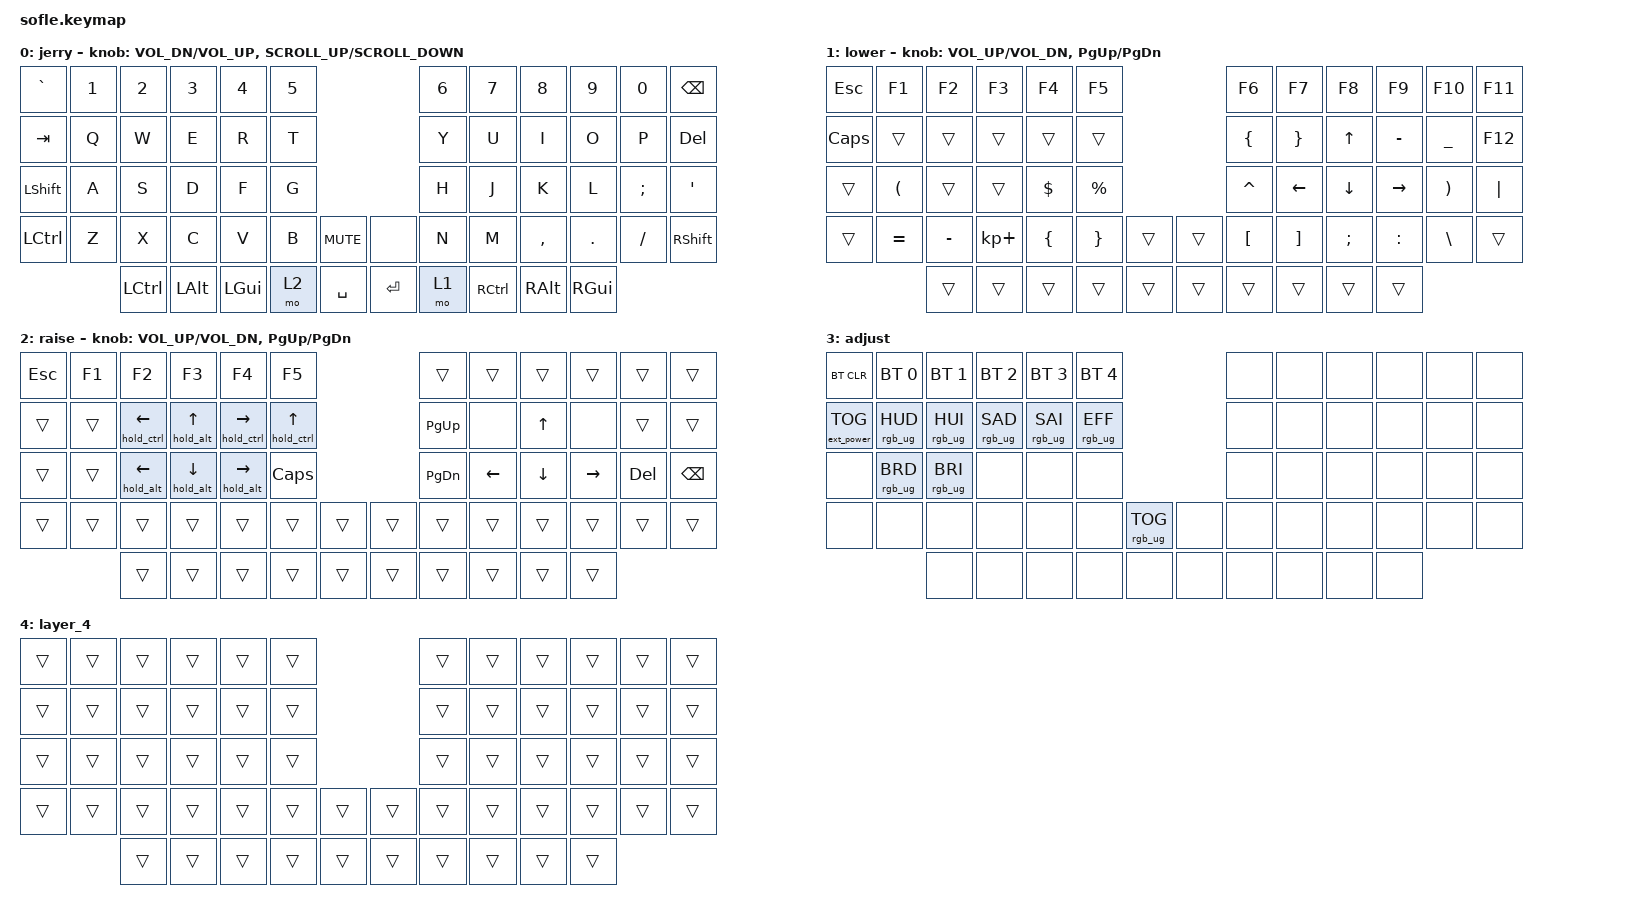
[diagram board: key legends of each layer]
/*
 * Copyright (c) 2020 The ZMK Contributors
 *
 * SPDX-License-Identifier: MIT
 */

#include <behaviors.dtsi>
#include <dt-bindings/zmk/bt.h>
#include <dt-bindings/zmk/ext_power.h>
#include <dt-bindings/zmk/keys.h>
#include <dt-bindings/zmk/rgb.h>

#define BASE 0
#define LOWER 1
#define RAISE 2
#define ADJUST 3

/ {
    // Activate ADJUST layer by pressing raise and lower

    conditional_layers {
        compatible = "zmk,conditional-layers";

        adjust_layer {
            if-layers = <LOWER RAISE>;
            then-layer = <ADJUST>;
        };
    };

    macros {
        hold_alt: alt_left {
            compatible = "zmk,behavior-macro-one-param";
            #binding-cells = <1>;
            bindings =
                <&macro_press>,
                <&kp LEFT_ALT>,
                <&macro_tap>,
                <&macro_param_1to1 &kp MACRO_PLACEHOLDER>,
                <&macro_release>,
                <&kp LEFT_ALT>;

            label = "ALT_LEFT";
        };

        hold_ctrl: hold_ctrl {
            compatible = "zmk,behavior-macro-one-param";
            #binding-cells = <1>;
            bindings =
                <&macro_press>,
                <&kp LEFT_CONTROL>,
                <&macro_tap>,
                <&macro_param_1to1 &kp MACRO_PLACEHOLDER>,
                <&macro_release>,
                <&kp LEFT_CONTROL>;

            label = "HOLD_CTRL";
        };

        hold_cmd: hold_cmd {
            compatible = "zmk,behavior-macro-one-param";
            #binding-cells = <1>;
            bindings =
                <&macro_press>,
                <&kp LEFT_GUI>,
                <&macro_tap>,
                <&macro_param_1to1 &kp MACRO_PLACEHOLDER>,
                <&macro_release>,
                <&kp LEFT_GUI>;

            label = "HOLD_CMD";
        };
    };

    keymap {
        compatible = "zmk,keymap";

        default_layer {
            label = "jerry";

            // ------------------------------------------------------------------------------------------------------------
            // |   `   |  1  |  2  |  3   |  4   |  5   |                   |  6   |  7    |  8    |  9   |   0   |       |
            // |  ESC  |  Q  |  W  |  E   |  R   |  T   |                   |  Y   |  U    |  I    |  O   |   P   | BKSPC |
            // |  TAB  |  A  |  S  |  D   |  F   |  G   |                   |  H   |  J    |  K    |  L   |   ;   |   '   |
            // | SHIFT |  Z  |  X  |  C   |  V   |  B   |  MUTE  |  |       |  N   |  M    |  ,    |  .   |   /   | SHIFT |
            //               | GUI | ALT  | CTRL | LOWER|  ENTER |  | SPACE | RAISE| CTRL  | ALT   | GUI  |

            bindings = <
&kp GRAVE         &kp N1  &kp N2            &kp N3    &kp N4    &kp N5                           &kp N6  &kp N7     &kp N8     &kp N9    &kp N0    &kp BACKSPACE
&kp TAB           &kp Q   &kp W             &kp E     &kp R     &kp T                            &kp Y   &kp U      &kp I      &kp O     &kp P     &kp DELETE
&kp LEFT_SHIFT    &kp A   &kp S             &kp D     &kp F     &kp G                            &kp H   &kp J      &kp K      &kp L     &kp SEMI  &kp SQT
&kp LEFT_CONTROL  &kp Z   &kp X             &kp C     &kp V     &kp B   &kp C_MUTE    &none      &kp N   &kp M      &kp COMMA  &kp DOT   &kp FSLH  &kp RSHFT
                          &kp LEFT_CONTROL  &kp LALT  &kp LGUI  &mo 2   &kp SPACE     &kp ENTER  &mo 1   &kp RCTRL  &kp RALT   &kp RGUI
            >;

            sensor-bindings =
                <&inc_dec_kp C_VOL_DN C_VOL_UP>,
                <&inc_dec_kp K_SCROLL_UP K_SCROLL_DOWN>;
        };

        lower_layer {
            label = "lower";

            // TODO: Some binds are waiting for shifted keycode support.
            // ------------------------------------------------------------------------------------------------------------
            // |       |  F1 |  F2 |  F3  |  F4  |  F5  |                   |  F6  |  F7   |  F8   |  F9  |  F10  |  F11  |
            // |   `   |  1  |  2  |  3   |  4   |  5   |                   |  6   |  7    |  8    |  9   |   0   |  F12  |
            // |       |  !  |  @  |  #   |  $   |  %   |                   |  ^   |  &    |  *    |  (   |   )   |   |   |
            // |       |  =  |  -  |  +   |  {   |  }   |        |  |       |  [   |  ]    |  ;    |  :   |   \   |       |
            //               |     |      |      |      |        |  |       |      |       |       |      |

            bindings = <
&kp ESC       &kp F1                &kp F2     &kp F3       &kp F4    &kp F5                       &kp F6          &kp F7           &kp F8          &kp F9           &kp F10         &kp F11
&kp CAPSLOCK  &trans                &trans     &trans       &trans    &trans                       &kp LEFT_BRACE  &kp RIGHT_BRACE  &kp UP_ARROW    &kp MINUS        &kp UNDERSCORE  &kp F12
&trans        &kp LEFT_PARENTHESIS  &trans     &trans       &kp DLLR  &kp PRCNT                    &kp CARET       &kp LEFT_ARROW   &kp DOWN_ARROW  &kp RIGHT_ARROW  &kp RPAR        &kp PIPE
&trans        &kp EQUAL             &kp MINUS  &kp KP_PLUS  &kp LBRC  &kp RBRC   &trans    &trans  &kp LBKT        &kp RBKT         &kp SEMI        &kp COLON        &kp BSLH        &trans
                                    &trans     &trans       &trans    &trans     &trans    &trans  &trans          &trans           &trans          &trans
            >;

            sensor-bindings = <&inc_dec_kp C_VOL_UP C_VOL_DN &inc_dec_kp PG_UP PG_DN>;
        };

        raise_layer {
            label = "raise";

            // ------------------------------------------------------------------------------------------------------------
            // | BTCLR | BT1  | BT2  |  BT3  |  BT4  |  BT5 |                |      |      |       |      |       |       |
            // |       | INS  | PSCR | GUI   |       |      |                | PGUP |      |   ^   |      |       |       |
            // |       | ALT  | CTRL | SHIFT |       | CAPS |                | PGDN |   <- |   v   |  ->  |  DEL  | BKSPC |
            // |       | UNDO | CUT  | COPY  | PASTE |      |      |  |      |      |      |       |      |       |       |
            //                |      |       |       |      |      |  |      |      |      |       |      |

            bindings = <
&kp ESC  &kp F1  &kp F2           &kp F3          &kp F4            &kp F5                                 &trans     &trans    &trans    &trans     &trans   &trans
&trans   &trans  &hold_ctrl LEFT  &hold_alt UP    &hold_ctrl RIGHT  &hold_ctrl UP_ARROW                    &kp PG_UP  &none     &kp UP    &none      &trans   &trans
&trans   &trans  &hold_alt LEFT   &hold_alt DOWN  &hold_alt RIGHT   &kp CLCK                               &kp PG_DN  &kp LEFT  &kp DOWN  &kp RIGHT  &kp DEL  &kp BSPC
&trans   &trans  &trans           &trans          &trans            &trans               &trans    &trans  &trans     &trans    &trans    &trans     &trans   &trans
                 &trans           &trans          &trans            &trans               &trans    &trans  &trans     &trans    &trans    &trans
            >;

            sensor-bindings = <&inc_dec_kp C_VOL_UP C_VOL_DN &inc_dec_kp PG_UP PG_DN>;
        };

        adjust_layer {
            // ----------------------------------------------------------------------------------------------------------------------------
            // | BTCLR  |  BT1    |  BT2    |   BT3   |   BT4   |   BT5   |                  |      |      |       |      |       |       |
            // | EXTPWR | RGB_HUD | RGB_HUI | RGB_SAD | RGB_SAI | RGB_EFF |                  |      |      |       |      |       |       |
            // |        | RGB_BRD | RGB_BRI |         |         |         |                  |      |      |       |      |       |       |
            // |        |         |         |         |         |         | RGB_TOG | |      |      |      |       |      |       |       |
            //                    |         |         |         |         |         | |      |      |      |       |      |

            label = "adjust";
            bindings = <
&bt BT_CLR         &bt BT_SEL 0     &bt BT_SEL 1     &bt BT_SEL 2     &bt BT_SEL 3     &bt BT_SEL 4                               &none  &none  &none  &none  &none  &none
&ext_power EP_TOG  &rgb_ug RGB_HUD  &rgb_ug RGB_HUI  &rgb_ug RGB_SAD  &rgb_ug RGB_SAI  &rgb_ug RGB_EFF                            &none  &none  &none  &none  &none  &none
&none              &rgb_ug RGB_BRD  &rgb_ug RGB_BRI  &none            &none            &none                                      &none  &none  &none  &none  &none  &none
&none              &none            &none            &none            &none            &none            &rgb_ug RGB_TOG    &none  &none  &none  &none  &none  &none  &none
                                    &none            &none            &none            &none            &none              &none  &none  &none  &none  &none
            >;
        };

        layer_4 {
            bindings = <
&trans  &trans  &trans  &trans  &trans  &trans                    &trans  &trans  &trans  &trans  &trans  &trans
&trans  &trans  &trans  &trans  &trans  &trans                    &trans  &trans  &trans  &trans  &trans  &trans
&trans  &trans  &trans  &trans  &trans  &trans                    &trans  &trans  &trans  &trans  &trans  &trans
&trans  &trans  &trans  &trans  &trans  &trans  &trans    &trans  &trans  &trans  &trans  &trans  &trans  &trans
                &trans  &trans  &trans  &trans  &trans    &trans  &trans  &trans  &trans  &trans
            >;
        };
    };
};
